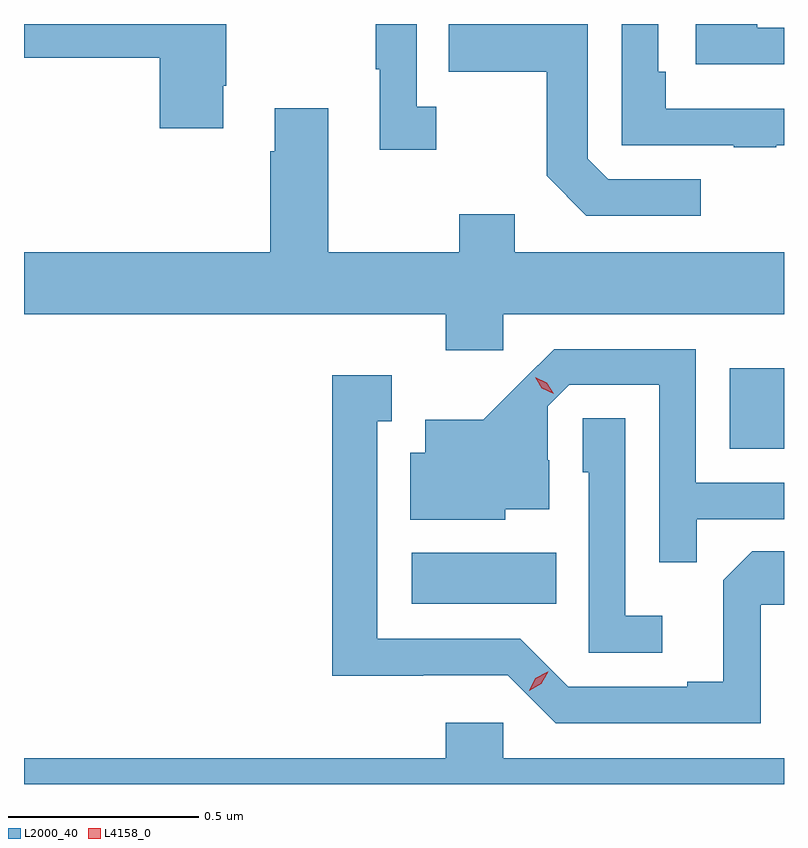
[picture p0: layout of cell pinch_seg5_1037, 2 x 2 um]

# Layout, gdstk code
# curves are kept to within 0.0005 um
import gdstk
lib = gdstk.Library(unit=1e-6, precision=1e-09)
def R(c, l, rs):  # rectangles x0, y0, x1, y1
    for r in rs: c.add(gdstk.rectangle(r[:2], r[2:], *l))
def P(c, l, *ps):  # polygons
    for p in ps: c.add(gdstk.Polygon(p, *l))
L2000_40 = (2000, 40)
L4158_0 = (4158, 0)

pinch_seg5_1037 = lib.new_cell('pinch_seg5_1037')
R(pinch_seg5_1037, L2000_40, [(722.79,844.01,723.17,844.144), (723.626,844.418,723.769,844.63)])
P(pinch_seg5_1037, L2000_40, [(722.854,845.318),(722.802,845.318),(722.802,845.536),(722.694,845.536),(722.694,845.417),(722.705,845.417),(722.705,845.205),(722.854,845.205)],
  [(722.293,845.374),(722.301,845.374),(722.301,845.536),(721.769,845.536),(721.769,845.447),(722.126,845.447),(722.126,845.262),(722.293,845.262)],
  [(723.749,845.217),(723.769,845.217),(723.769,845.313),(723.458,845.313),(723.458,845.41),(723.438,845.41),(723.438,845.536),(723.342,845.536),(723.342,845.217),(723.637,845.217),(723.637,845.212),(723.749,845.212)],
  [(723.769,845.526),(723.698,845.526),(723.698,845.536),(723.537,845.536),(723.537,845.43),(723.769,845.43)],
  [(723.55,845.127),(723.306,845.127),(723.252,845.181),(723.252,845.536),(722.887,845.536),(722.887,845.41),(723.144,845.41),(723.144,845.137),(723.249,845.031),(723.55,845.031)],
  [(723.03,844.772),(723.769,844.772),(723.769,844.936),(723.061,844.936),(723.061,845.035),(722.914,845.035),(722.914,844.936),(722.569,844.936),(722.569,845.314),(722.429,845.314),(722.429,845.201),(722.417,845.201),(722.417,844.936),(721.769,844.936),(721.769,844.772),(722.879,844.772),(722.879,844.677),(723.03,844.677)],
  [(723.539,844.233),(723.769,844.233),(723.769,844.329),(723.537,844.329),(723.537,844.68),(723.164,844.68),(722.977,844.495),(722.825,844.495),(722.825,844.408),(722.786,844.408),(722.786,844.232),(723.036,844.232),(723.036,844.259),(723.151,844.259),(723.151,844.388),(723.147,844.388),(723.147,844.53),(723.204,844.587),(723.441,844.587),(723.441,844.12),(723.539,844.12)],
  [(723.708,844.008),(723.769,844.008),(723.769,844.148),(723.685,844.148),(723.609,844.072),(723.609,843.805),(723.515,843.805),(723.515,843.792),(723.201,843.792),(723.075,843.918),(722.698,843.918),(722.698,844.491),(722.737,844.491),(722.737,844.612),(722.58,844.612),(722.58,843.821),(722.82,843.821),(722.82,843.822),(723.042,843.822),(723.168,843.696),(723.708,843.696)],
  [(723.448,843.979),(723.351,843.979),(723.351,844.499),(723.24,844.499),(723.24,844.356),(723.255,844.356),(723.255,843.882),(723.448,843.882)],
  [(723.769,843.604),(723.03,843.604),(723.03,843.697),(722.879,843.697),(722.879,843.604),(721.769,843.604),(721.769,843.536),(723.769,843.536)])
P(pinch_seg5_1037, L4158_0, [(723.163,844.563),(723.132,844.577),(723.114,844.607),(723.114,844.607),(723.115,844.607),(723.145,844.592),(723.163,844.563),(723.163,844.563)],
  [(723.098,843.781),(723.098,843.781),(723.115,843.814),(723.147,843.832),(723.148,843.832),(723.148,843.832),(723.13,843.8),(723.098,843.781)])

lib.write_gds('pinch_seg5_1037.gds')
